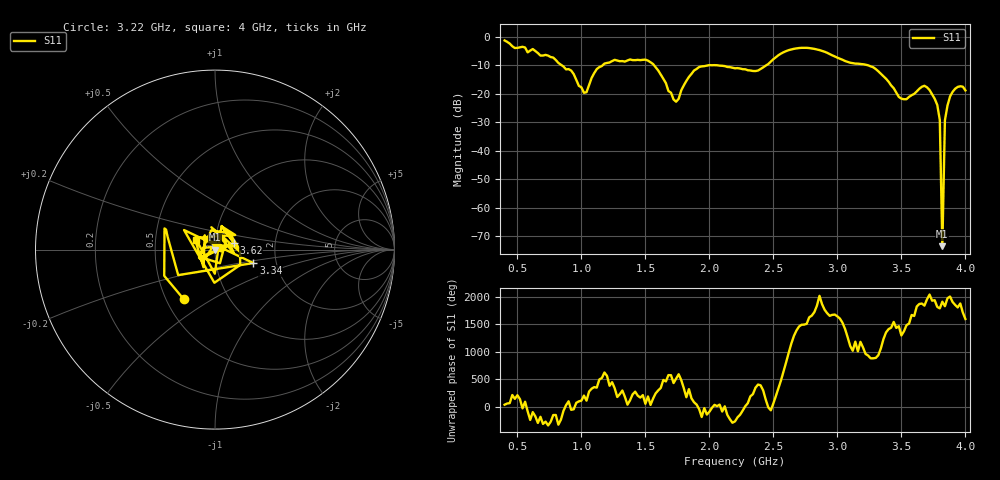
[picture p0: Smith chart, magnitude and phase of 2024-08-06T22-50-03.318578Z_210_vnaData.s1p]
!Created with skrf (http://scikit-rf.org).
# Hz S RI R 50.0
!freq ReS11 ImS11
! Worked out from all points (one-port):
!   181 points, 400 MHz to 4 GHz, reference 50 ohm
!   lowest |S11| = -73.4 dB at 3.82 GHz (marker M1), VSWR 1.00, Z = 50 + j0.0204 ohm
!   |S11| at or under -10 dB: 1.569 GHz to 1.987 GHz (417.6 MHz wide, 23.5 % of centre); 2.072 GHz to 2.441 GHz (369.9 MHz wide, 16.4 % of centre); 3.243 GHz to end of sweep (the widest 3 of 4)
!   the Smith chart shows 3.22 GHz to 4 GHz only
!   S11 on the Smith chart (normalised r, x): 3.22 GHz: 0.61, -0.38; 3.34 GHz: 1.52, -0.24; 3.62 GHz: 1.23, +0.09; 4 GHz: 0.81, +0.09
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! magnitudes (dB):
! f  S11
! 400 MHz  -1.2
! 860 MHz  -10.4
! 920 MHz  -11.8
! 1.02 GHz  -19.6
! 1.12 GHz  -11.3
! 1.3 GHz  -8.5
! 1.54 GHz  -8.9
! 1.72 GHz  -21.9
! 1.76 GHz  -21.7
! 1.82 GHz  -15.4
! 1.92 GHz  -10.5
! 2.2 GHz  -11.0
! 2.38 GHz  -11.8
! 2.66 GHz  -4.1
! 3.1 GHz  -9.0
! 3.22 GHz  -9.7
! 3.34 GHz  -12.9
! 3.48 GHz  -21.0
! 3.56 GHz  -21.0
! 3.62 GHz  -19.1
! 3.72 GHz  -18.6
! 3.78 GHz  -23.8
! 3.8 GHz  -29.1
! 3.82 GHz  -73.4
! 3.84 GHz  -29.2
! 3.86 GHz  -24.1
! 3.9 GHz  -19.3
! 4 GHz  -18.7
